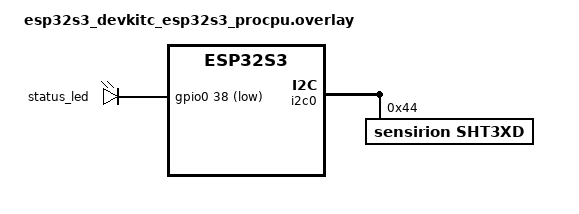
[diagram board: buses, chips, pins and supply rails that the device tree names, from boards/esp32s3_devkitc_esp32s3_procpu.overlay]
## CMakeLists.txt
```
#
# Copyright (c) 2024 Tareq Mhisen
#
# SPDX-License-Identifier: Apache-2.0
#

cmake_minimum_required(VERSION 3.20.0)

find_package(Zephyr REQUIRED HINTS $ENV{ZEPHYR_BASE})
project(app LANGUAGES C)

target_sources(app PRIVATE
    src/ble_svc.c
    src/main.c
    src/humidity_temperature_svc.c
    src/user_interface.c
)
```

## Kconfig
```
#
# Copyright (c) 2024 Tareq Mhisen
#
# SPDX-License-Identifier: Apache-2.0
#

mainmenu "BLE Environmental Sensor Application"

menu "Application configuration"

config MEASURING_PERIOD_SECONDS
    int "Sampling period for temperature and humidity measurements (in seconds)"
    default 30
    help
        Defines how frequently the sensor samples temperature and humidity data. Adjust this value to balance between data freshness and power consumption.

config FIRST_MEASUREMENT_DELAY_SECONDS
    int "Delay before the first measurement after device startup (in seconds)"
    default 10
    help
        Specifies the time to wait after booting before taking the initial measurement. This allows the device to stabilize before collecting data.

config MIN_ADV_INTERVAL_MS
    int "Minimum Bluetooth advertisement interval (in milliseconds)"
    default 500
    range 20 10240
    help
        Defines the shortest time interval between two consecutive Bluetooth advertisement packets.
        A lower value increases advertisement frequency, improving device discoverability but consuming more power.
        BLE spec requires minimum 20ms for connectable advertising, maximum 10.24s.

config MAX_ADV_INTERVAL_MS
    int "Maximum Bluetooth advertisement interval (in milliseconds)"
    default 501
    range 20 10240
    help
        Defines the longest time interval between two consecutive Bluetooth advertisement packets.
        A higher value reduces power consumption but may slow down connection establishment.
        Must be >= MIN_ADV_INTERVAL_MS. BLE spec maximum is 10.24s.

endmenu

source "Kconfig.zephyr"
```

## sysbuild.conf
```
#
# Copyright (c) 2024 Tareq Mhisen
#
# SPDX-License-Identifier: Apache-2.0
#

#
# Add MCUboot bootloader
#
SB_CONFIG_BOOTLOADER_MCUBOOT=y
```

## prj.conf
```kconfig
#
# Copyright (c) 2024 Tareq Mhisen
#
# SPDX-License-Identifier: Apache-2.0
#

# Floating Point Unit
CONFIG_FPU=y

#
# ENVIRONMENTAL SENSORS
#
CONFIG_I2C=y
CONFIG_SENSOR=y


#
# BLE
#
CONFIG_BT=y
CONFIG_BT_PERIPHERAL=y
# Use dedicated BLE RX workqueue for lower power (allows CPU to sleep faster)
CONFIG_BT_RECV_WORKQ_BT=y
CONFIG_BT_DEVICE_NAME="TBZ_SHAM_SENSOR"
CONFIG_BT_COMPANY_ID=0x0059
CONFIG_BT_DEVICE_APPEARANCE=21

# Set preferred connection parameters
# (800 x 1.25ms) -> 1000ms
CONFIG_BT_PERIPHERAL_PREF_MIN_INT=800
CONFIG_BT_PERIPHERAL_PREF_MAX_INT=800
# (400 x 10ms) -> 4000ms
CONFIG_BT_PERIPHERAL_PREF_TIMEOUT=400
CONFIG_MIN_ADV_INTERVAL_MS=1000
CONFIG_MAX_ADV_INTERVAL_MS=1001
CONFIG_BT_PERIPHERAL_PREF_LATENCY=0
CONFIG_BT_GAP_AUTO_UPDATE_CONN_PARAMS=y

# Enable PHY updates.
CONFIG_BT_USER_PHY_UPDATE=y


#
# Enable Assertions
#
CONFIG_ASSERT=y

#
# DFU
#

# Enable MCUMGR 
CONFIG_MCUMGR=y

# Enable MCUMGR management for both OS and Images
CONFIG_MCUMGR_GRP_OS=y
CONFIG_MCUMGR_GRP_IMG=y

# Allows to query MCUMGR about bootloader used by device and various bootloader parameters.
CONFIG_MCUMGR_GRP_OS_BOOTLOADER_INFO=y


# Configure MCUMGR transport to BLE
CONFIG_MCUMGR_TRANSPORT_BT=y
CONFIG_MCUMGR_TRANSPORT_BT_CONN_PARAM_CONTROL=y
CONFIG_MCUMGR_TRANSPORT_BT_REASSEMBLY=y

# Dependencies
# Configure dependencies for CONFIG_MCUMGR  
CONFIG_NET_BUF=y
CONFIG_ZCBOR=y
CONFIG_CRC=y

# Configure dependencies for CONFIG_MCUMGR_GRP_IMG  
CONFIG_FLASH=y
CONFIG_IMG_MANAGER=y

# Configure dependencies for CONFIG_IMG_MANAGER  
CONFIG_STREAM_FLASH=y
CONFIG_FLASH_MAP=y

# Speed up OTA DFU
CONFIG_BT_USER_DATA_LEN_UPDATE=y
CONFIG_BT_CTLR_DATA_LENGTH_MAX=251
CONFIG_BT_BUF_ACL_RX_SIZE=502
CONFIG_BT_BUF_ACL_TX_SIZE=251
CONFIG_BT_L2CAP_TX_MTU=498

#
# Settings storage compatibility for field upgrades from v2.8.0
# This enables the legacy ZMS backend format for reading settings stored by older firmware
# Note: CONFIG_SETTINGS_ZMS_LEGACY is not available in this SDK version
#
```

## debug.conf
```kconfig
#
# Copyright (c) 2024 Tareq Mhisen
#
# SPDX-License-Identifier: Apache-2.0
#

#
# LOGGING
#
CONFIG_LOG=y
# Enable uart driver
CONFIG_SERIAL=y
# Enable console
CONFIG_CONSOLE=y
CONFIG_UART_CONSOLE=y
```

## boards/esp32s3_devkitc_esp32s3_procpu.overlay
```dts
/*
 * Copyright (c) 2024 Tareq Mhisen
 *
 * SPDX-License-Identifier: Apache-2.0
 */

/ {
	leds {
		compatible = "gpio-leds";
		status_led: red_led {
			gpios = <&gpio0 38 GPIO_ACTIVE_LOW>;
		};
	};

	aliases {
		led0 = &status_led;
		sht-sensor = &sht3xd;
	};
};

&i2c0 {
	status = "okay";
	sht3xd: sht3xd@44 {
		compatible = "sensirion,sht3xd";
		reg = <0x44>;
	};
};
```

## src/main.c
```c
/*
 * Copyright (c) 2024 Tareq Mhisen
 *
 * SPDX-License-Identifier: Apache-2.0
 */

/*
 * ============================================================================
 * Callback Pattern Demonstration
 * ============================================================================
 *
 * This file demonstrates ALL possibilities of the Callback Pattern as
 * described by Martin Schroder's "Design Patterns - Callback Pattern":
 *
 * 1. CALLBACK AS STRUCT (not a bare function pointer)
 *    Every callback is a struct containing a function pointer that receives
 *    a pointer to itself. This enables CONTAINER_OF and list linkage.
 *    -> See: struct ui_button_callback, struct ble_svc_conn_callback,
 *            struct humidity_temperature_callback
 *
 * 2. CONTAINER_OF TO RECOVER OBSERVER CONTEXT
 *    Each observer embeds the callback struct in its own data. The handler
 *    uses CONTAINER_OF(cb, struct my_observer, cb_field) to recover the
 *    observer's private state. No global data, no "void *user_data".
 *    -> See: btn_callback(), led_on_button_cb(), on_ble_connected(),
 *            on_ble_disconnected(), on_measurement_ready()
 *
 * 3. SINGLE CALLBACK (Alternative 1 from the PDF)
 *    A subject stores a pointer to one callback struct.
 *    -> See: The original user_interface design (now extended to slist)
 *
 * 4. MULTIPLE CALLBACKS VIA sys_slist_t (Alternative 2 - one-to-many)
 *    A subject maintains a linked list of callback structs, notifying all
 *    observers in sequence. Each callback struct has a sys_snode_t node.
 *    -> See: user_interface button_callbacks list (notifies both main_data
 *            and led_observer), ble_svc conn_callbacks list,
 *            humidity_temperature_svc callbacks list
 *
 * 5. ADD / REMOVE LIFECYCLE MANAGEMENT
 *    Observers register with *_add_callback() and unregister with
 *    *_remove_callback(). The callback struct must never go out of scope
 *    while registered.
 *    -> See: ui_register_button_callback / ui_remove_button_callback,
 *            ble_svc_add_conn_callback / ble_svc_remove_conn_callback,
 *            humidity_temperature_svc_add_callback / _remove_callback
 *
 * 6. MULTIPLE OPERATIONS IN ONE CALLBACK STRUCT
 *    A single callback struct can hold multiple function pointers for
 *    different events from the same subject (like an "ops" struct).
 *    -> See: struct ble_svc_conn_callback has both .connected and
 *            .disconnected handlers
 *
 * 7. WORK QUEUE + CALLBACK (context-safe deferred processing)
 *    BLE callbacks fire in the Bluetooth thread context. The handler must
 *    not do heavy work there. Instead, it submits a k_work item to the
 *    system work queue where the actual processing happens safely.
 *    -> See: on_ble_connected() submits ble_connected_work,
 *            on_ble_disconnected() submits ble_disconnected_work
 *
 * 8. FULL DECOUPLING (subject knows nothing about observers)
 *    - ble_svc does not #include or depend on main.c types
 *    - humidity_temperature_svc does not know about ble_svc
 *    - user_interface does not know about main_data or led_observer
 *    The only shared contract is the callback struct definition.
 *
 * ============================================================================
 */

#include <app_version.h>
#include "ble_svc.h"
#include "humidity_temperature_svc.h"
#include "user_interface.h"

#include <zephyr/logging/log.h>

LOG_MODULE_REGISTER(main, LOG_LEVEL_INF);

#define MEASUREMENT_PERIOD_MSEC             (1000 * CONFIG_MEASURING_PERIOD_SECONDS)
#define FIRST_MEASUREMENT_DELAY_MSEC        (1000 * CONFIG_FIRST_MEASUREMENT_DELAY_SECONDS)
#define STATUS_LED_ON_TIME_FOR_STARTUP_MSEC 250

/* ============================================================================
 * Pattern 7: Work queue handler for periodic measurements
 * ============================================================================
 * This work item is scheduled/cancelled from deferred BLE connection handlers
 * (themselves triggered by callbacks). It triggers the sensor which then
 * notifies its own measurement callbacks.
 */
static struct humidity_temperature_data ht_sensor;

static void measuring_work_handler(struct k_work *_work)
{
	int ret;
	struct k_work_delayable *work = k_work_delayable_from_work(_work);

	ret = humidity_temperature_svc_trigger_measurement(&ht_sensor);
	if (ret != 0) {
		LOG_ERR("Failed to trigger measurement: %d", ret);
	}

	k_work_reschedule(work, K_MSEC(MEASUREMENT_PERIOD_MSEC));
}
K_WORK_DELAYABLE_DEFINE(measuring_work, measuring_work_handler);

/* ============================================================================
 * Pattern 2 + 4: Observer #1 for button events (main application logic)
 * ============================================================================
 * Demonstrates CONTAINER_OF to recover main_data context from the embedded
 * callback struct. This is one of multiple observers for the same subject.
 */
struct main_data {
	bool ble_is_connected;
	bool measuring_started;

	/* Callback Pattern: button callback embedded in observer struct */
	struct ui_button_callback btn_cb;

	/* Callback Pattern: BLE connection callback with multiple ops */
	struct ble_svc_conn_callback ble_conn_cb;

	/* Callback Pattern: sensor measurement callback */
	struct humidity_temperature_callback measurement_cb;

	/* Callback Pattern: work items for deferring from BT thread context */
	struct k_work ble_connected_work;
	struct k_work ble_disconnected_work;
};

static struct main_data data;

static void btn_callback(struct ui_button_callback *cb, enum button_evt evt)
{
	/* Pattern 2: CONTAINER_OF recovers observer context from callback pointer.
	 * No global data access, no "void *user_data" - just the struct layout. */
	struct main_data *self = CONTAINER_OF(cb, struct main_data, btn_cb);
	int ret;

	ARG_UNUSED(self);

	switch (evt) {
	case BUTTON_EVT_PRESSED_1_SEC:
		ret = ble_svc_increase_button_press_cnt();
		if (ret != 0) {
			LOG_WRN("Failed to update button press count: %d", ret);
		}
		break;

	case BUTTON_EVT_PRESSED_10_SEC:
		/* TODO: Trigger factory Reset */
		break;

	default:
		break;
	}
}

/* ============================================================================
 * Pattern 4: Observer #2 for button events (LED feedback)
 * ============================================================================
 * Demonstrates one-to-many: a SECOND independent observer for the same button
 * subject. Both led_observer and main_data receive button notifications, but
 * neither knows about the other. The button subject knows about neither.
 */
struct led_observer {
	struct ui_button_callback btn_cb;
};

static struct led_observer led_obs;

static void led_on_button_cb(struct ui_button_callback *cb, enum button_evt evt)
{
	/* Pattern 2: recover led_observer context via CONTAINER_OF */
	struct led_observer *self = CONTAINER_OF(cb, struct led_observer, btn_cb);

	ARG_UNUSED(self);

	/* Flash LED on any button press to give visual feedback */
	LOG_INF("LED observer: button event %d, flashing LED", evt);
	ui_flash_status_led(STATUS_LED_ON_TIME_FOR_STARTUP_MSEC);
}

/* ============================================================================
 * Pattern 6 + 7: BLE connection callback (multiple ops + work queue deferral)
 * ============================================================================
 * Demonstrates:
 * - Multiple ops: struct ble_svc_conn_callback has .connected AND .disconnected
 * - Work queue deferral: callbacks fire in BT thread, so we submit k_work items
 *   to defer the actual processing to the system work queue context.
 */
static void ble_connected_work_handler(struct k_work *work)
{
	struct main_data *self = CONTAINER_OF(work, struct main_data, ble_connected_work);

	LOG_INF("BLE connected (deferred to work queue context)");
	self->ble_is_connected = true;
	k_work_reschedule(&measuring_work, K_MSEC(FIRST_MEASUREMENT_DELAY_MSEC));
	self->measuring_started = true;
}

static void ble_disconnected_work_handler(struct k_work *work)
{
	struct main_data *self = CONTAINER_OF(work, struct main_data, ble_disconnected_work);
	struct k_work_sync sync;

	LOG_INF("BLE disconnected (deferred to work queue context)");
	self->ble_is_connected = false;
	if (self->measuring_started) {
		k_work_cancel_delayable_sync(&measuring_work, &sync);
		self->measuring_started = false;
	}
}

static void on_ble_connected(struct ble_svc_conn_callback *cb)
{
	/* Pattern 2: CONTAINER_OF recovers main_data from BLE callback struct */
	struct main_data *self = CONTAINER_OF(cb, struct main_data, ble_conn_cb);

	/* Pattern 7: Defer work from BT thread to system work queue.
	 * The PDF warns: "avoid time consuming operations in callback".
	 * BLE callbacks run in the BT thread - we must not block it. */
	k_work_submit(&self->ble_connected_work);
}

static void on_ble_disconnected(struct ble_svc_conn_callback *cb)
{
	/* Pattern 2: CONTAINER_OF from the same callback struct, different op */
	struct main_data *self = CONTAINER_OF(cb, struct main_data, ble_conn_cb);

	/* Pattern 7: defer to work queue */
	k_work_submit(&self->ble_disconnected_work);
}

/* ============================================================================
 * Pattern 5 + 8: Sensor measurement callback (data via parameters + decoupling)
 * ============================================================================
 * Demonstrates:
 * - The sensor service notifies observers with measured data as parameters
 * - Full decoupling: humidity_temperature_svc does not know about ble_svc,
 *   yet the measurement data flows to BLE through this callback chain.
 * - The callback runs in work queue context (measuring_work_handler calls
 *   trigger_measurement which fires this callback).
 */
static void on_measurement_ready(struct humidity_temperature_callback *cb,
				 float temperature, float humidity)
{
	/* Pattern 2: CONTAINER_OF to get observer context */
	struct main_data *self = CONTAINER_OF(cb, struct main_data, measurement_cb);
	int ret;

	if (!self->ble_is_connected) {
		return;
	}

	/* Pattern 8: Full decoupling - sensor doesn't know about BLE.
	 * The observer bridges the two services without either depending on the other. */
	ret = ble_svc_update_temperature_value(temperature);
	if (ret != 0) {
		LOG_WRN("Failed to update temperature over BLE: %d", ret);
	}

	ret = ble_svc_update_humidity_value(humidity);
	if (ret != 0) {
		LOG_WRN("Failed to update humidity over BLE: %d", ret);
	}
}

/* ============================================================================
 * Application entry point
 * ============================================================================
 * All event handling is callback-driven. After initialization, the main
 * thread sleeps forever - all work happens in callbacks and work queue items.
 */
int main(void)
{
	int ret;

	LOG_INF("Starting up .. .. ..");
	LOG_INF("Application Version: %s", APP_VERSION_STRING);

	/* Initialize sensor service */
	ret = humidity_temperature_svc_init(&ht_sensor,
					   DEVICE_DT_GET_ONE(sensirion_sht4x));
	if (ret != 0) {
		LOG_ERR("Failed to initialize humidity and temperature service!");
		return ret;
	}

	/* Pattern 5: Register measurement callback with sensor service */
	data.measurement_cb.on_measurement = on_measurement_ready;
	humidity_temperature_svc_add_callback(&ht_sensor, &data.measurement_cb);

	/* Initialize user interface (GPIO) */
	ret = ui_gpio_init();
	if (ret != 0) {
		LOG_ERR("Failed to initialize user interface service!");
		return ret;
	}

	/* Pattern 1+2: Register button callback #1 (main logic - CONTAINER_OF) */
	data.btn_cb.handler = btn_callback;
	ui_register_button_callback(&data.btn_cb);

	/* Pattern 4: Register button callback #2 (LED feedback - one-to-many)
	 * Both observers are notified for every button event. Neither knows
	 * about the other. The button subject knows about neither. */
	led_obs.btn_cb.handler = led_on_button_cb;
	ui_register_button_callback(&led_obs.btn_cb);

	/* Initialize BLE service */
	ret = ble_svc_init();
	if (ret != 0) {
		LOG_ERR("Failed to initialize BLE service: %d", ret);
		return ret;
	}

	/* Pattern 6: Register BLE connection callback (multiple ops in one struct).
	 * The same struct has both .connected and .disconnected handlers. */
	data.ble_conn_cb.connected = on_ble_connected;
	data.ble_conn_cb.disconnected = on_ble_disconnected;
	ble_svc_add_conn_callback(&data.ble_conn_cb);

	/* Pattern 7: Initialize work items for deferred BLE event processing.
	 * Callbacks from BT thread submit these to the system work queue. */
	k_work_init(&data.ble_connected_work, ble_connected_work_handler);
	k_work_init(&data.ble_disconnected_work, ble_disconnected_work_handler);

	/* Enable BLE and start advertising */
	ret = ble_svc_enable_ble();
	if (ret != 0) {
		LOG_ERR("Failed to enable BLE: %d", ret);
		return ret;
	}

	ret = ui_flash_status_led(STATUS_LED_ON_TIME_FOR_STARTUP_MSEC);
	if (ret != 0) {
		LOG_WRN("Failed to flash status LED: %d", ret);
		return ret;
	}

	/* All event handling is now callback-driven.
	 * The main thread has nothing more to do - sleep forever.
	 * Work happens in: BT thread callbacks -> k_work -> work queue handlers. */
	k_sleep(K_FOREVER);

	return 0;
}
```

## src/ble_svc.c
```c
/*
 * Copyright (c) 2024 Tareq Mhisen
 *
 * SPDX-License-Identifier: Apache-2.0
 */

#include <zephyr/bluetooth/addr.h>
#include <zephyr/bluetooth/bluetooth.h>
#include <zephyr/bluetooth/conn.h>
#include <zephyr/bluetooth/gatt.h>
#include <zephyr/bluetooth/uuid.h>
#include <zephyr/sys/atomic.h>
#include <zephyr/sys/byteorder.h>

#include "ble_svc.h"
#include "events_svc.h"

#include <zephyr/logging/log.h>

LOG_MODULE_REGISTER(ble_svc, LOG_LEVEL_INF);

#define DEVICE_NAME                 CONFIG_BT_DEVICE_NAME
#define DEVICE_NAME_LEN             (sizeof(DEVICE_NAME) - 1)
#define COMPANY_ID_CODE             CONFIG_BT_COMPANY_ID
#define ADV_INTERVAL_UNIT_MS        0.625
#define CONNECTION_INTERVAL_UNIT_MS 1.25
#define SUPERVISION_TIMEOUT_UNIT_MS 10
#define MIN_ADV_INTERVAL            (CONFIG_MIN_ADV_INTERVAL_MS / ADV_INTERVAL_UNIT_MS)
#define MAX_ADV_INTERVAL            (CONFIG_MAX_ADV_INTERVAL_MS / ADV_INTERVAL_UNIT_MS)
#define MAX_ADV_PAYLOAD             31

struct ble_svc_data {
	struct bt_conn *ble_connection;
	atomic_t temperature;
	atomic_t humidity;
};

static struct ble_svc_data data;

static const struct bt_le_adv_param *adv_param =
	BT_LE_ADV_PARAM(BT_LE_ADV_OPT_CONN, MIN_ADV_INTERVAL, MAX_ADV_INTERVAL,
			NULL); /* Set to NULL for undirected advertising */

struct adv_manufacture_data {
	uint16_t company_code;    /* Company Identifier Code. */
	uint16_t btn_press_count; /* Number of times Button is pressed as a dummy data for now */
};

static struct adv_manufacture_data manufacture_data = {COMPANY_ID_CODE, sys_cpu_to_le16(0x00)};

/* Advertising packet (Max size is 31 bytes) */
static const struct bt_data ad[] = {
	/* 3 bytes (Type, flag, length) */
	BT_DATA_BYTES(BT_DATA_FLAGS, (BT_LE_AD_GENERAL | BT_LE_AD_NO_BREDR)),
	/* 4 bytes (Type + Length + UUID) - Environmental Sensing Service UUID (0x181A in LE) */
	BT_DATA_BYTES(BT_DATA_UUID16_ALL, BT_UUID_16_ENCODE(BT_UUID_ESS_VAL)),
	/* [2 bytes (Type +  length)] + DEVICE_NAME_LEN bytes */
	BT_DATA(BT_DATA_NAME_COMPLETE, DEVICE_NAME, DEVICE_NAME_LEN),
	/* [2 bytes (Type +  length)] + size of adv_manufacture_data struct */
	BT_DATA(BT_DATA_MANUFACTURER_DATA, (unsigned char *)&manufacture_data,
		sizeof(manufacture_data)),

};

/* URL data to include in the scan response (This will increase current consumption by 2uA) */
/* 0x17 for https in URI Scheme */
static unsigned char url_data[] = {0x17, '/', '/', 'g', 'i', 't', 'h', 'u', 'b', '.', 'c', 'o',
				   'm',  '/', 'T', 'A', 'R', 'E', 'Q', '-', 'T', 'B', 'Z'};

/* Scan response packet (Max size is 31 bytes) */
static const struct bt_data sd[] = {
	/* [2 bytes (Type +  length)] + length of the data (URL) */
	BT_DATA(BT_DATA_URI, url_data, sizeof(url_data)),
};

static void update_phy(struct bt_conn *conn)
{
	int ret;
	const struct bt_conn_le_phy_param preferred_phy = {
		.options = BT_CONN_LE_PHY_OPT_NONE,
		.pref_rx_phy = BT_GAP_LE_PHY_2M,
		.pref_tx_phy = BT_GAP_LE_PHY_2M,
	};
	ret = bt_conn_le_phy_update(conn, &preferred_phy);
	if (ret) {
		LOG_ERR("Failed to update preferred PHY: %d", ret);
	}
}

static void update_data_length(struct bt_conn *conn)
{
	int ret;
	struct bt_conn_le_data_len_param my_data_len = {
		.tx_max_len = BT_GAP_DATA_LEN_MAX,
		.tx_max_time = BT_GAP_DATA_TIME_MAX,
	};
	ret = bt_conn_le_data_len_update(conn, &my_data_len);
	if (ret) {
		LOG_ERR("Failed to update data length parameter %d", ret);
	}
}

static void on_connected(struct bt_conn *conn, uint8_t ret)
{
	struct event evt;
	struct bt_conn_info info;
	double connection_interval;
	uint16_t supervision_timeout;
	char addr[BT_ADDR_LE_STR_LEN];

	if (ret != 0) {
		LOG_WRN("Connection failed (ret %u)", ret);
		return;
	}

	data.ble_connection = bt_conn_ref(conn);

	if (bt_conn_get_info(conn, &info) == 0) {
		bt_addr_le_to_str(bt_conn_get_dst(conn), addr, sizeof(addr));

		connection_interval = info.le.interval * CONNECTION_INTERVAL_UNIT_MS;

		LOG_INF("Connection established! Connected to: %s", addr);
		LOG_DBG("Connection parameters: interval %.2f ms, latency %d, timeout %d ms",
			connection_interval, info.le.latency, supervision_timeout);
	} else {
		LOG_WRN("Could not parse connection info");
	}

	update_phy(conn);
	update_data_length(conn);

	evt.type = EVENT_BLE_CONNECTED;
	if (events_svc_send_event(&evt) != 0) {
		LOG_WRN("Event queue full, connected event dropped");
	}
}

static void on_disconnected(struct bt_conn *conn, uint8_t reason)
{
	struct event evt;
	struct bt_conn *old;

	LOG_DBG("Disconnected (reason %u)", reason);

	old = data.ble_connection;
	data.ble_connection = NULL;
	if (old) {
		bt_conn_unref(old);
	}

	evt.type = EVENT_BLE_NOT_CONNECTED;
	if (events_svc_send_event(&evt) != 0) {
		LOG_WRN("Event queue full, disconnected event dropped");
	}
}

static bool on_le_param_req(struct bt_conn *conn, struct bt_le_conn_param *param)
{
	LOG_DBG("Connection parameters update request received.");
	LOG_DBG("Minimum interval: %d, Maximum interval: %d", param->interval_min,
		param->interval_max);
	LOG_DBG("Latency: %d, Timeout: %d", param->latency, param->timeout);

	return true;
}

static void on_le_param_updated(struct bt_conn *conn, uint16_t interval, uint16_t latency,
				uint16_t timeout)
{
	double connection_interval = interval * CONNECTION_INTERVAL_UNIT_MS;
	uint16_t supervision_timeout = timeout * SUPERVISION_TIMEOUT_UNIT_MS;
	LOG_DBG("Connection parameters updated: interval %.2f ms, latency %d intervals, timeout %d "
		"ms",
		connection_interval, latency, supervision_timeout);
}

static void on_le_phy_updated(struct bt_conn *conn, struct bt_conn_le_phy_info *param)
{
	if (param->tx_phy == BT_CONN_LE_TX_POWER_PHY_1M) {
		LOG_DBG("PHY updated. New PHY: 1M");
	} else if (param->tx_phy == BT_CONN_LE_TX_POWER_PHY_2M) {
		LOG_DBG("PHY updated. New PHY: 2M");
	} else if (param->tx_phy == BT_CONN_LE_TX_POWER_PHY_CODED_S8) {
		LOG_DBG("PHY updated. New PHY: Long Range");
	}
}

static void on_le_data_len_updated(struct bt_conn *conn, struct bt_conn_le_data_len_info *info)
{
	uint16_t tx_len = info->tx_max_len;
	uint16_t tx_time = info->tx_max_time;
	uint16_t rx_len = info->rx_max_len;
	uint16_t rx_time = info->rx_max_time;
	LOG_DBG("Data length updated. Length %d/%d bytes, time %d/%d us", tx_len, rx_len, tx_time,
		rx_time);
}

static void ble_srv_att_mtu_updated(struct bt_conn *conn, uint16_t tx, uint16_t rx)
{
	LOG_DBG("ATT MTU: TX = %u bytes, RX = %u bytes", tx, rx);
}

static struct bt_gatt_cb ble_srv_gatt_cb = {
	.att_mtu_updated = ble_srv_att_mtu_updated,
};

static struct bt_conn_cb conn_callbacks = {
	.connected = on_connected,
	.disconnected = on_disconnected,
	.le_param_req = on_le_param_req,
	.le_param_updated = on_le_param_updated,
	.le_phy_updated = on_le_phy_updated,
	.le_data_len_updated = on_le_data_len_updated,
};

static void temperature_cfg_changed(const struct bt_gatt_attr *attr, uint16_t value)
{
	ARG_UNUSED(attr);

	bool notif_enabled = (value == BT_GATT_CCC_NOTIFY);

	LOG_DBG("Temperature Notifications %s", notif_enabled ? "enabled" : "disabled");
}

static void humidity_cfg_changed(const struct bt_gatt_attr *attr, uint16_t value)
{
	ARG_UNUSED(attr);

	bool notif_enabled = (value == BT_GATT_CCC_NOTIFY);

	LOG_DBG("Humidity Notifications %s", notif_enabled ? "enabled" : "disabled");
}

static ssize_t read_temperature(struct bt_conn *conn, const struct bt_gatt_attr *attr, void *buf,
				uint16_t len, uint16_t offset)
{
	int16_t temperature = (int16_t)atomic_get(&data.temperature);

	return bt_gatt_attr_read(conn, attr, buf, len, offset, &temperature, sizeof(temperature));
}

static ssize_t read_humidity(struct bt_conn *conn, const struct bt_gatt_attr *attr, void *buf,
			     uint16_t len, uint16_t offset)
{
	uint16_t humidity = (uint16_t)atomic_get(&data.humidity);

	return bt_gatt_attr_read(conn, attr, buf, len, offset, &humidity, sizeof(humidity));
}

/* Constant values from the Assigned Numbers specification:
 * https://www.bluetooth.com/wp-content/uploads/Files/Specification/Assigned_Numbers.pdf?id=89
 * Per ESS spec: Temperature in 0.01°C, Humidity in 0.01% (exponent = -2)
 */
static const struct bt_gatt_cpf temperature_cpf = {
	.format = 0x0E,        /* signed 16-bit integer */
	.exponent = -2,        /* value = raw * 10^-2 (0.01°C resolution) */
	.unit = 0x272F,        /* degree Celsius */
	.name_space = 0x01,    /* Bluetooth SIG */
	.description = 0x0106, /* "main" */
};

static const struct bt_gatt_cpf humidity_cpf = {
	.format = 0x06,        /* unsigned 16-bit integer */
	.exponent = -2,        /* value = raw * 10^-2 (0.01% resolution) */
	.unit = 0x27AD,        /* Percentage */
	.name_space = 0x01,    /* Bluetooth SIG */
	.description = 0x0106, /* "main" */
};

BT_GATT_SERVICE_DEFINE(environmental_sensing_service, BT_GATT_PRIMARY_SERVICE(BT_UUID_ESS),
		       BT_GATT_CHARACTERISTIC(BT_UUID_TEMPERATURE,
					      BT_GATT_CHRC_READ | BT_GATT_CHRC_NOTIFY,
					      BT_GATT_PERM_READ, read_temperature, NULL, NULL),
		       BT_GATT_CCC(temperature_cfg_changed, BT_GATT_PERM_READ | BT_GATT_PERM_WRITE),
		       BT_GATT_CPF(&temperature_cpf),
		       BT_GATT_CHARACTERISTIC(BT_UUID_HUMIDITY,
					      BT_GATT_CHRC_READ | BT_GATT_CHRC_NOTIFY,
					      BT_GATT_PERM_READ, read_humidity, NULL, NULL),
		       BT_GATT_CCC(humidity_cfg_changed, BT_GATT_PERM_READ | BT_GATT_PERM_WRITE),
		       BT_GATT_CPF(&humidity_cpf), );

int ble_svc_update_temperature_value(float temp_value)
{
	int ret;
	struct bt_conn *conn;
	int16_t temperature;

	if (temp_value > 125 || temp_value < -20) {
		return -EINVAL;
	}

	temperature = (int16_t)(temp_value * 100);
	atomic_set(&data.temperature, temperature);
	conn = data.ble_connection;

	ret = bt_gatt_notify(conn, &environmental_sensing_service.attrs[1], &temperature,
			     sizeof(temperature));

	return ret == -ENOTCONN ? 0 : ret;
}

int ble_svc_update_humidity_value(float hum_value)
{
	int ret;
	struct bt_conn *conn;
	uint16_t humidity;

	if (hum_value > 100 || hum_value < 0) {
		return -EINVAL;
	}

	humidity = (uint16_t)(hum_value * 100);
	atomic_set(&data.humidity, humidity);
	conn = data.ble_connection;

	ret = bt_gatt_notify(conn, &environmental_sensing_service.attrs[5], &humidity,
			     sizeof(humidity));

	return ret == -ENOTCONN ? 0 : ret;
}

static int ble_get_payload_size(const struct bt_data *data_array, size_t array_size)
{
	size_t total_size = 0;

	for (size_t i = 0; i < array_size; i++) {
		total_size += data_array[i].data_len + 2; /* 2 bytes for (Type + Length) */
	}

	return total_size;
}

static void bt_ready(int ret)
{
	if (ret != 0) {
		LOG_ERR("Failed to initialize BLE %d", ret);
		return;
	}

	ret = bt_le_adv_start(adv_param, ad, ARRAY_SIZE(ad), sd, ARRAY_SIZE(sd));
	if (ret) {
		LOG_ERR("Advertising failed to start %d", ret);
		return;
	}

	LOG_INF("Advertising successfully started");
}

/*
 * Thread-safety: This function must only be called from the system workqueue context.
 * The manufacture_data is not mutex-protected; concurrent access from multiple contexts
 * would cause a race condition.
 */
void ble_svc_increase_button_press_cnt(void)
{
	manufacture_data.btn_press_count++;

	bt_le_adv_update_data(ad, ARRAY_SIZE(ad), sd, ARRAY_SIZE(sd));
}

int ble_svc_enable_ble(void)
{
	int ret;
	bt_addr_le_t addr;

	/* A Static Random Address is a 48-bit (6-byte) address structured as follows:
	 * Most significant two bits (MSBs) of the first byte must be 11 (bin) C0, D0, E0, F0 (HEX).
	 * The remaining 46 bits are randomly generated and remain constant. */
	ret = bt_addr_le_from_str("DE:8B:49:00:00:01", "random", &addr);
	if (ret) {
		LOG_ERR("Invalid BT address %d", ret);
		return ret;
	}

	ret = bt_id_create(&addr, NULL);
	if (ret < 0) {
		LOG_ERR("Creating new ID failed %d", ret);
		return ret;
	}

	ret = bt_enable(bt_ready);
	if (ret != 0) {
		LOG_ERR("Failed to enable BLE %d", ret);
		return ret;
	}

	return 0;
}

void ble_svc_init(void)
{
	size_t adv_size;
	size_t scan_resp_size;

	bt_conn_cb_register(&conn_callbacks);
	bt_gatt_cb_register(&ble_srv_gatt_cb);

	adv_size = ble_get_payload_size(ad, ARRAY_SIZE(ad));
	scan_resp_size = ble_get_payload_size(sd, ARRAY_SIZE(sd));

	__ASSERT(adv_size <= MAX_ADV_PAYLOAD,
		 "Advertisement payload size exceeded the maximum size (Max: 31 bytes), size: %zu",
		 adv_size);
	__ASSERT(scan_resp_size <= MAX_ADV_PAYLOAD,
		 "Scan response payload size exceeded the maximum size (Max: 31 bytes), size: %zu",
		 scan_resp_size);

	LOG_DBG("Actual Advertisement Packet Size: %zu bytes (Max: 31 bytes)", adv_size);
	LOG_DBG("Actual Scan Response Packet Size: %zu bytes (Max: 31 bytes)", scan_resp_size);
}
```

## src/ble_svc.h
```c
/*
 * Copyright (c) 2024 Tareq Mhisen
 *
 * SPDX-License-Identifier: Apache-2.0
 */

#ifndef APP_BLE_SVC_H_
#define APP_BLE_SVC_H_

#include <zephyr/sys/slist.h>

/**
 * Callback Pattern: Connection event callback struct with multiple operations.
 *
 * This demonstrates a callback struct with multiple function pointers (ops),
 * allowing observers to handle different events from the same subject.
 * The sys_snode_t enables one-to-many notifications via a linked list.
 * Observers use CONTAINER_OF on the callback pointer to recover their context.
 *
 * IMPORTANT: These callbacks fire in the Bluetooth thread context.
 * Observers must not perform time-consuming operations directly in
 * the handler. Use k_work to defer heavy processing to a work queue.
 */
struct ble_svc_conn_callback {
	sys_snode_t node;
	void (*connected)(struct ble_svc_conn_callback *cb);
	void (*disconnected)(struct ble_svc_conn_callback *cb);
};

/**
 * @brief Register a connection event callback (supports multiple observers).
 *
 * @param cb Pointer to the callback struct. Must remain valid for the
 *           lifetime of the registration.
 */
void ble_svc_add_conn_callback(struct ble_svc_conn_callback *cb);

/**
 * @brief Remove a previously registered connection event callback.
 *
 * @param cb Pointer to the callback struct to remove.
 */
void ble_svc_remove_conn_callback(struct ble_svc_conn_callback *cb);

/**
 * @brief Updates BLE humidity value and notifies clients.
 *
 * @param hum_value Humidity in % (0.0 - 100.0).
 *
 * @return 0 on success, -EINVAL if out of range, or error code.
 */
int ble_svc_update_humidity_value(float hum_value);

/**
 * @brief Updates BLE temperature value and notifies clients.
 *
 * @param temp_value Temperature in °C (-20.0 to 125.0).
 *
 * @return 0 on success, -EINVAL if out of range, or error code.
 */
int ble_svc_update_temperature_value(float temp_value);

/**
 * @brief Temporaily function to demonstrare updateing the ble advertisement data manually at rum
 * time
 *
 * @return 0 on success, or error code on failure.
 */
int ble_svc_increase_button_press_cnt(void);

/**
 * @brief Enables BLE and start advertising.
 *
 * @return 0 on success, or error code on failure.
 */
int ble_svc_enable_ble(void);

/**
 * @brief Initialize BLE service.
 *
 * @return 0 on success, or error code on failure.
 */
int ble_svc_init(void);

#endif /* APP_BLE_SVC_H_ */
```

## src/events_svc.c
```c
/*
 * Copyright (c) 2024 Tareq Mhisen
 *
 * SPDX-License-Identifier: Apache-2.0
 */

#include <zephyr/kernel.h>
#include <zephyr/logging/log.h>

#include "events_svc.h"

LOG_MODULE_REGISTER(events_svc);

K_MSGQ_DEFINE(event_msq, sizeof(struct event), EVENT_QUEUE_SIZE, 4);

const char *events_svc_type_to_text(enum event_type type)
{
	switch (type) {
	case EVENT_BLE_CONNECTED:
		return "EVENT_BLE_CONNECTED";
	case EVENT_BLE_NOT_CONNECTED:
		return "EVENT_BLE_NOT_CONNECTED";
	default:
		return "UNKNOWN";
	}
}

int events_svc_send_event(struct event *evt)
{
	return k_msgq_put(&event_msq, evt, K_NO_WAIT);
}

int events_svc_get_event(struct event *evt)
{
	return k_msgq_get(&event_msq, evt, K_FOREVER);
}
```

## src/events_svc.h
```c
/*
 * Copyright (c) 2024 Tareq Mhisen
 *
 * SPDX-License-Identifier: Apache-2.0
 */

#ifndef APP_EVENT_SVC_H_
#define APP_EVENT_SVC_H_

/* Queue size of 4 is sufficient: only 2 event types (connect/disconnect)
 * and main thread processes events synchronously */
#define EVENT_QUEUE_SIZE 4

enum event_type {
	EVENT_BLE_CONNECTED,
	EVENT_BLE_NOT_CONNECTED,
};

struct event {
	enum event_type type;
};

/**
 * @brief Get the text representation of an event
 *
 * @param type event type enum
 * @return const char* Pointer to static string literal
 */
const char *events_svc_type_to_text(enum event_type type);

/**
 * @brief Pushes an event to the message queue
 *
 * @param evt pointer to the event to be sent.
 * @return int
 */
int events_svc_send_event(struct event *evt);

/**
 * @brief Gets an event from the message queue
 *
 * @param evt pointer to the event to be received.
 * @return int
 */
int events_svc_get_event(struct event *evt);

#endif /* APP_EVENT_SVC_H_ */
```

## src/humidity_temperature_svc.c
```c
/*
 * Copyright (c) 2024 Tareq Mhisen
 *
 * SPDX-License-Identifier: Apache-2.0
 */

#include <zephyr/device.h>
#include <zephyr/kernel.h>

#include "humidity_temperature_svc.h"

#include <zephyr/logging/log.h>

LOG_MODULE_REGISTER(humidity_temperature_svc, LOG_LEVEL_DBG);

static const struct device *const rh_temp_dev = DEVICE_DT_GET(DT_ALIAS(sht_sensor));

struct humidity_temperature_data {
	struct sensor_value humidity;
	struct sensor_value temperature;
};

static struct humidity_temperature_data data;

int humidity_temperature_svc_trigger_measurement(void)
{
	int ret;

	ret = sensor_sample_fetch(rh_temp_dev);
	if (ret != 0) {
		return ret;
	}

	ret = sensor_channel_get(rh_temp_dev, SENSOR_CHAN_AMBIENT_TEMP, &data.temperature);
	if (ret != 0) {
		LOG_ERR("Failed to get temperature channel: %d", ret);
		return ret;
	}

	ret = sensor_channel_get(rh_temp_dev, SENSOR_CHAN_HUMIDITY, &data.humidity);
	if (ret != 0) {
		LOG_ERR("Failed to get humidity channel: %d", ret);
		return ret;
	}

	LOG_DBG("Temperature: %3d.%06d [°C]", data.temperature.val1, data.temperature.val2);
	LOG_DBG("Humidity: %3d.%06d [%%]", data.humidity.val1, data.humidity.val2);

	return 0;
}

float humidity_temperature_svc_get_temperature(void)
{
	return sensor_value_to_float(&data.temperature);
}

float humidity_temperature_svc_get_humidity(void)
{
	return sensor_value_to_float(&data.humidity);
}

int humidity_temperature_svc_init(void)
{
	if (!device_is_ready(rh_temp_dev)) {
		LOG_ERR("Failed to initialize humidity and temperature sensor!");
		return -ENODEV;
	}

	LOG_DBG("Humidity and temperature sensor initialized successfully");
	return 0;
}
```

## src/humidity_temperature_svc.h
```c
/*
 * Copyright (c) 2024 Tareq Mhisen
 *
 * SPDX-License-Identifier: Apache-2.0
 */

#ifndef APP_ENVIRONMENTAL_SENSORS_H_
#define APP_ENVIRONMENTAL_SENSORS_H_

#include <zephyr/drivers/sensor.h>
#include <zephyr/sys/slist.h>

/* Measurements ranges for SHT40 sensor */
#define SENSOR_TEMP_CELSIUS_MIN       -40
#define SENSOR_TEMP_CELSIUS_MAX       125
#define SENSOR_TEMP_CELSIUS_TOLERANCE 0.2
#define SENSOR_HUMIDITY_PERCENT_MIN   0
#define SENSOR_HUMIDITY_PERCENT_MAX   100

/**
 * Callback Pattern: Measurement-ready callback struct.
 *
 * Observers embed this struct in their own data and use CONTAINER_OF
 * in the handler to recover their private context. The handler receives
 * the measured values directly as parameters (data via callback arguments).
 */
struct humidity_temperature_callback {
	sys_snode_t node;
	void (*on_measurement)(struct humidity_temperature_callback *cb,
			       float temperature, float humidity);
};

struct humidity_temperature_data {
	const struct device *dev;
	struct sensor_value humidity;
	struct sensor_value temperature;
	/** Callback Pattern: list of measurement observers (one-to-many) */
	sys_slist_t callbacks;
};

/**
 * @brief Initialize the humidity and temperature sensor.
 *
 * @param[in] self Pointer to the sensor data object.
 * @param[in] dev  Pointer to the sensor device.
 *
 * @return 0 on success, or -ENODEV on failure
 */
int humidity_temperature_svc_init(struct humidity_temperature_data *self, const struct device *dev);

/**
 * @brief Triggers a new measurement for humidity and temperature.
 *
 * This function fetches new sensor data and caches the values internally.
 * Call get_temperature() and get_humidity() after this returns successfully.
 *
 * @param[in] self Pointer to the sensor data object.
 *
 * @return 0 on success, or a negative error code if the measurement fails.
 */
int humidity_temperature_svc_trigger_measurement(struct humidity_temperature_data *self);

/**
 * @brief Get the last measured humidity value.
 *
 * @note Call trigger_measurement() first to get fresh data.
 *
 * @param[in]  self Pointer to the sensor data object.
 * @param[out] hum  Pointer to store the humidity value in percent (0.0 - 100.0).
 *
 * @return 0 on success, or a negative error code on failure.
 */
int humidity_temperature_svc_get_humidity(struct humidity_temperature_data *self, float *hum);

/**
 * @brief Get the last measured temperature value.
 *
 * @note Call trigger_measurement() first to get fresh data.
 *
 * @param[in]  self Pointer to the sensor data object.
 * @param[out] temp Pointer to store the temperature value in degrees Celsius.
 *
 * @return 0 on success, or a negative error code on failure.
 */
int humidity_temperature_svc_get_temperature(struct humidity_temperature_data *self, float *temp);

/**
 * @brief Register a measurement callback (supports multiple observers).
 *
 * @param[in] self Pointer to the sensor data object.
 * @param[in] cb   Pointer to the callback struct. Must remain valid for the
 *                 lifetime of the registration.
 */
void humidity_temperature_svc_add_callback(struct humidity_temperature_data *self,
					   struct humidity_temperature_callback *cb);

/**
 * @brief Remove a previously registered measurement callback.
 *
 * @param[in] self Pointer to the sensor data object.
 * @param[in] cb   Pointer to the callback struct to remove.
 */
void humidity_temperature_svc_remove_callback(struct humidity_temperature_data *self,
					      struct humidity_temperature_callback *cb);

#endif /* APP_ENVIRONMENTAL_SENSORS_H_ */
```

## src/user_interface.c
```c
/*
 * Copyright (c) 2024 Tareq Mhisen
 *
 * SPDX-License-Identifier: Apache-2.0
 */

#include <zephyr/kernel.h>
#include <zephyr/device.h>
#include <zephyr/devicetree.h>
#include <zephyr/drivers/gpio.h>

#include "user_interface.h"

#include <zephyr/logging/log.h>

LOG_MODULE_REGISTER(user_interface, LOG_LEVEL_DBG);

static const struct gpio_dt_spec user_button = GPIO_DT_SPEC_GET(DT_ALIAS(sw0), gpios);
static const struct gpio_dt_spec status_led = GPIO_DT_SPEC_GET(DT_ALIAS(led0), gpios);

struct user_interface_data {
	struct gpio_callback gpio_cb;
	/** Callback Pattern: list of callbacks for one-to-many button notifications */
	sys_slist_t button_callbacks;
	enum button_evt btn_event;
};

static struct user_interface_data data = {
	.btn_event = BUTTON_EVT_NONE,
};

static void button_increase_time(struct k_work *_work)
{
	struct k_work_delayable *work = k_work_delayable_from_work(_work);

	if (data.btn_event < BUTTON_EVT_PRESSED_10_SEC) /* Last press event */ {
		data.btn_event++;
		k_work_reschedule(work, K_SECONDS(1));
	}

	if (data.btn_event == BUTTON_EVT_PRESSED_10_SEC) {
		ui_set_status_led_on();
	}
}
K_WORK_DELAYABLE_DEFINE(button_increase_time_work, button_increase_time);

static void button_handler(struct k_work *work)
{
	ARG_UNUSED(work);
	struct k_work_sync sync;
	sys_snode_t *node;

	int value = gpio_pin_get_dt(&user_button);

	if (value == 1) /* 1 = pressed, 0 = released */ {
		data.btn_event = BUTTON_EVT_PRESSED_1_SEC;
		k_work_reschedule(&button_increase_time_work, K_SECONDS(1));
		return;
	}

	/* Button released */
	k_work_cancel_delayable_sync(&button_increase_time_work, &sync);

	/* Callback Pattern: notify all registered observers (one-to-many) */
	SYS_SLIST_FOR_EACH_NODE(&data.button_callbacks, node) {
		struct ui_button_callback *cb =
			CONTAINER_OF(node, struct ui_button_callback, node);
		if (cb->handler) {
			cb->handler(cb, data.btn_event);
		}
	}

	data.btn_event = BUTTON_EVT_NONE;
}
static K_WORK_DELAYABLE_DEFINE(debouncing_work, button_handler);

static void button_pressed_callback(const struct device *dev, struct gpio_callback *cb,
				    uint32_t pins)
{
	/* Debounce the button */
	k_work_reschedule(&debouncing_work, K_MSEC(15));
}

void ui_register_button_callback(struct ui_button_callback *cb)
{
	sys_slist_append(&data.button_callbacks, &cb->node);
}

void ui_remove_button_callback(struct ui_button_callback *cb)
{
	sys_slist_find_and_remove(&data.button_callbacks, &cb->node);
}

int ui_toggle_status_led(void)
{
	return gpio_pin_toggle_dt(&status_led);
}

int ui_set_status_led_on(void)
{
	return gpio_pin_set_dt(&status_led, 1);
}

int ui_set_status_led_off(void)
{
	return gpio_pin_set_dt(&status_led, 0);
}

void led_timer_expiry_fn(struct k_timer *time)
{
	ui_set_status_led_off();
}
K_TIMER_DEFINE(led_timer, led_timer_expiry_fn, NULL);

int ui_flash_status_led(uint32_t on_time_ms)
{
	int ret = ui_set_status_led_on();
	if (ret == 0) {
		k_timer_start(&led_timer, K_MSEC(on_time_ms), K_NO_WAIT);
		return 0;
	}
	return ret;
}

int ui_gpio_init(void)
{
	int ret;

	if (!gpio_is_ready_dt(&status_led)) {
		LOG_ERR("Status LED device not ready");
		return -ENODEV;
	}

	if (!gpio_is_ready_dt(&user_button)) {
		LOG_ERR("User button device not ready");
		return -ENODEV;
	}

	ret = gpio_pin_configure_dt(&status_led, GPIO_OUTPUT_INACTIVE | GPIO_PULL_UP);
	if (ret < 0) {
		LOG_ERR("Failed to configure status LED: %d", ret);
		return ret;
	}

	ret = gpio_pin_configure_dt(&user_button, GPIO_INPUT | GPIO_PULL_UP);
	if (ret < 0) {
		LOG_ERR("Failed to configure user button: %d", ret);
		return ret;
	}

	ret = gpio_pin_interrupt_configure_dt(&user_button, GPIO_INT_EDGE_BOTH);
	if (ret < 0) {
		LOG_ERR("Failed to configure button interrupt: %d", ret);
		return ret;
	}

	gpio_init_callback(&data.gpio_cb, button_pressed_callback, BIT(user_button.pin));

	ret = gpio_add_callback(user_button.port, &data.gpio_cb);
	if (ret < 0) {
		LOG_ERR("Failed to add button callback: %d", ret);
		return ret;
	}

	LOG_INF("GPIOs initialized successfully");

	return 0;
}
```

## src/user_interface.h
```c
/*
 * Copyright (c) 2024 Tareq Mhisen
 *
 * SPDX-License-Identifier: Apache-2.0
 */

#ifndef APP_USER_INTERFACE_H_
#define APP_USER_INTERFACE_H_

#include <stdint.h>
#include <zephyr/sys/slist.h>

enum button_evt {
	BUTTON_EVT_NONE,
	BUTTON_EVT_PRESSED_1_SEC,
	BUTTON_EVT_PRESSED_2_SEC,
	BUTTON_EVT_PRESSED_3_SEC,
	BUTTON_EVT_PRESSED_4_SEC,
	BUTTON_EVT_PRESSED_5_SEC,
	BUTTON_EVT_PRESSED_6_SEC,
	BUTTON_EVT_PRESSED_7_SEC,
	BUTTON_EVT_PRESSED_8_SEC,
	BUTTON_EVT_PRESSED_9_SEC,
	BUTTON_EVT_PRESSED_10_SEC,
};

/**
 * Callback Pattern: Callback struct for button events.
 *
 * The callback is enclosed in a struct (not a bare function pointer) so that:
 *  - It can be linked into a list for one-to-many notifications (sys_snode_t).
 *  - The handler receives a pointer to this struct, allowing the observer to
 *    recover its own context via CONTAINER_OF without global data or "userdata".
 */
struct ui_button_callback {
	sys_snode_t node;
	void (*handler)(struct ui_button_callback *cb, enum button_evt evt);
};

/**
 * @brief Register a callback for the user button (supports multiple observers).
 *
 * @param cb Pointer to the callback struct. Must remain valid for the
 *           lifetime of the registration. The caller embeds this struct
 *           in its own data and uses CONTAINER_OF in the handler.
 */
void ui_register_button_callback(struct ui_button_callback *cb);

/**
 * @brief Remove a previously registered button callback.
 *
 * @param cb Pointer to the callback struct to remove.
 */
void ui_remove_button_callback(struct ui_button_callback *cb);

/**
 * @brief Toggle the status LED.
 *
 * @return 0 on success, negative error code on failure.
 */
int ui_toggle_status_led(void);

/**
 * @brief Turn on the status LED.
 *
 * @return 0 on success, negative error code on failure.
 */
int ui_set_status_led_on(void);

/**
 * @brief Turn off the status LED.
 *
 * @return 0 on success, negative error code on failure.
 */
int ui_set_status_led_off(void);

/**
 * @brief flash the status LED.
 *
 * @param on_time_ms On time in ms
 *
 * @return 0 on success, negative error code on failure.
 */
int ui_flash_status_led(uint32_t on_time_ms);

/**
 * @brief Initialize GPIOs for user button and status LED.
 *
 * @return 0 on success, negative error code on failure.
 */
int ui_gpio_init(void);

#endif /* APP_USER_INTERFACE_H_ */
```
